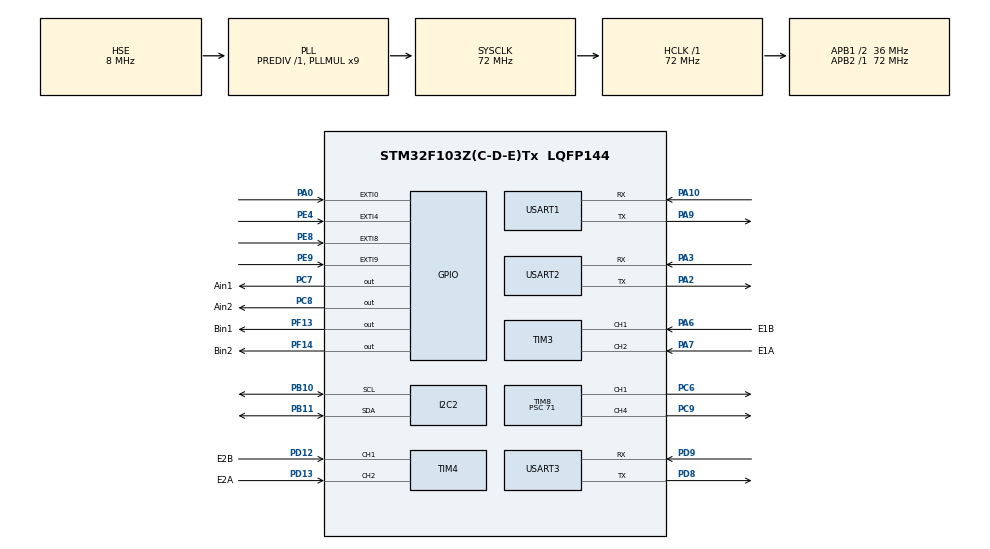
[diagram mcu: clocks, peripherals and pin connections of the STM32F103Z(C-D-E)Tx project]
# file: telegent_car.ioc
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Dma.Request0=USART2_RX
Dma.Request1=USART3_RX
Dma.USART2_RX.0.Direction=DMA_PERIPH_TO_MEMORY
Dma.USART2_RX.0.Instance=DMA1_Channel6
Dma.USART2_RX.0.MemDataAlignment=DMA_MDATAALIGN_BYTE
Dma.USART2_RX.0.MemInc=DMA_MINC_ENABLE
Dma.USART2_RX.0.Mode=DMA_NORMAL
Dma.USART2_RX.0.PeriphDataAlignment=DMA_PDATAALIGN_BYTE
Dma.USART2_RX.0.PeriphInc=DMA_PINC_DISABLE
Dma.USART2_RX.0.Priority=DMA_PRIORITY_MEDIUM
Dma.USART3_RX.1.Direction=DMA_PERIPH_TO_MEMORY
Dma.USART3_RX.1.Instance=DMA1_Channel3
Dma.USART3_RX.1.MemDataAlignment=DMA_MDATAALIGN_BYTE
Dma.USART3_RX.1.MemInc=DMA_MINC_ENABLE
Dma.USART3_RX.1.Mode=DMA_NORMAL
Dma.USART3_RX.1.PeriphDataAlignment=DMA_PDATAALIGN_BYTE
Dma.USART3_RX.1.PeriphInc=DMA_PINC_DISABLE
Dma.USART3_RX.1.Priority=DMA_PRIORITY_LOW
Mcu.Family=STM32F1
Mcu.Name=STM32F103Z(C-D-E)Tx
Mcu.Package=LQFP144
NVIC.DMA1_Channel3_IRQn=true\:0\:0\:false\:false\:true\:false\:true\:true
NVIC.DMA1_Channel6_IRQn=true\:0\:0\:false\:false\:true\:false\:true\:true
NVIC.EXTI0_IRQn=true\:2\:0\:true\:false\:true\:true\:true\:true
NVIC.EXTI4_IRQn=true\:1\:0\:true\:false\:true\:true\:true\:true
NVIC.EXTI9_5_IRQn=true\:0\:0\:true\:false\:true\:true\:true\:true
NVIC.PriorityGroup=NVIC_PRIORITYGROUP_2
NVIC.USART2_IRQn=true\:0\:0\:true\:false\:true\:true\:true\:true
NVIC.USART3_IRQn=true\:0\:0\:false\:false\:true\:true\:true\:true
OSC_IN.Mode=HSE-External-Oscillator
OSC_IN.Signal=RCC_OSC_IN
OSC_OUT.Mode=HSE-External-Oscillator
OSC_OUT.Signal=RCC_OSC_OUT
PA0-WKUP.GPIO_ModeDefaultEXTI=GPIO_MODE_IT_RISING
PA0-WKUP.GPIO_PuPd=GPIO_PULLDOWN
PA0-WKUP.Signal=GPXTI0
PA10.Mode=Asynchronous
PA10.Signal=USART1_RX
PA13.Mode=Serial_Wire
PA13.Signal=SYS_JTMS-SWDIO
PA14.Mode=Serial_Wire
PA14.Signal=SYS_JTCK-SWCLK
PA2.Mode=Asynchronous
PA2.Signal=USART2_TX
PA3.Mode=Asynchronous
PA3.Signal=USART2_RX
PA6.GPIO_Label=E1B
PA6.Signal=S_TIM3_CH1
PA7.GPIO_Label=E1A
PA7.Signal=S_TIM3_CH2
PA9.Mode=Asynchronous
PA9.Signal=USART1_TX
PB10.Mode=I2C
PB10.Signal=I2C2_SCL
PB11.Mode=I2C
PB11.Signal=I2C2_SDA
PC6.Signal=S_TIM8_CH1
PC7.GPIO_Label=Ain1
PC7.Signal=GPIO_Output
PC8.GPIO_Label=Ain2
PC8.Signal=GPIO_Output
PC9.Signal=S_TIM8_CH4
PD12.GPIO_Label=E2B
PD12.Signal=S_TIM4_CH1
PD13.GPIO_Label=E2A
PD13.Signal=S_TIM4_CH2
PD8.Mode=Asynchronous
PD8.Signal=USART3_TX
PD9.Mode=Asynchronous
PD9.Signal=USART3_RX
PE4.Signal=GPXTI4
PE8.GPIO_ModeDefaultEXTI=GPIO_MODE_IT_RISING
PE8.Signal=GPXTI8
PE9.GPIO_ModeDefaultEXTI=GPIO_MODE_IT_RISING
PE9.Signal=GPXTI9
PF13.GPIO_Label=Bin1
PF13.Signal=GPIO_Output
PF14.GPIO_Label=Bin2
PF14.Signal=GPIO_Output
ProjectManager.HeapSize=0x200
ProjectManager.StackSize=0x400
ProjectManager.TargetToolchain=MDK-ARM V5
RCC.AHBFreq_Value=72000000
RCC.APB1CLKDivider=RCC_HCLK_DIV2
RCC.APB1Freq_Value=36000000
RCC.APB1TimFreq_Value=72000000
RCC.APB2Freq_Value=72000000
RCC.APB2TimFreq_Value=72000000
RCC.HCLKFreq_Value=72000000
RCC.PLLMUL=RCC_PLL_MUL9
RCC.PLLSourceVirtual=RCC_PLLSOURCE_HSE
RCC.SYSCLKFreq_VALUE=72000000
RCC.SYSCLKSource=RCC_SYSCLKSOURCE_PLLCLK
RCC.USBFreq_Value=72000000
SH.S_TIM3_CH1.0=TIM3_CH1,Encoder_Interface
SH.S_TIM3_CH2.0=TIM3_CH2,Encoder_Interface
SH.S_TIM4_CH1.0=TIM4_CH1,Encoder_Interface
SH.S_TIM4_CH2.0=TIM4_CH2,Encoder_Interface
SH.S_TIM8_CH1.0=TIM8_CH1,PWM Generation1 CH1
SH.S_TIM8_CH4.0=TIM8_CH4,PWM Generation4 CH4
TIM3.EncoderMode=TIM_ENCODERMODE_TI12
TIM4.EncoderMode=TIM_ENCODERMODE_TI12
TIM8.AutoReloadPreload=TIM_AUTORELOAD_PRELOAD_ENABLE
TIM8.Channel-PWM\ Generation1\ CH1=TIM_CHANNEL_1
TIM8.Channel-PWM\ Generation4\ CH4=TIM_CHANNEL_4
TIM8.Period=999
TIM8.Prescaler=71
TIM8.Pulse-PWM\ Generation1\ CH1=0
TIM8.Pulse-PWM\ Generation4\ CH4=0
USART1.VirtualMode=VM_ASYNC
USART2.VirtualMode=VM_ASYNC
USART3.VirtualMode=VM_ASYNC
VP_TIM8_VS_ClockSourceINT.Mode=Internal
board=custom

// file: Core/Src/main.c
/* USER CODE BEGIN Header */
/**
  ******************************************************************************
  * @file           : main.c
  * @brief          : Main program body
  ******************************************************************************
  * @attention
  *
  * Copyright (c) 2023 STMicroelectronics.
  * All rights reserved.
  *
  * This software is licensed under terms that can be found in the LICENSE file
  * in the root directory of this software component.
  * If no LICENSE file comes with this software, it is provided AS-IS.
  *
  ******************************************************************************
  */
/* USER CODE END Header */
#include "main.h"
#include "dma.h"
#include "i2c.h"
#include "tim.h"
#include "usart.h"
#include "gpio.h"

/* USER CODE BEGIN Includes */
#include "sys.h"
/* USER CODE END Includes */

/* USER CODE BEGIN PV */
int position_flag=0;
int mode_flag1=0;
int mode_flag2=0;
int room_flag1=0;
int room_flag2=0;
/* USER CODE END PV */

void SystemClock_Config(void);

/* USER CODE BEGIN 0 */
#ifdef __GNUC_
#define PUTCHAR_PROTOTYPE int __io_putchar(int ch)
#else
#define PUTCHAR_PROTOTYPE int fputc(int ch, FILE *f)
#endif
PUTCHAR_PROTOTYPE
{
  HAL_UART_Transmit(&huart2, (uint8_t *)&ch, 1, 0xFFFF);
  return ch;
}
/* USER CODE END 0 */

int main(void)
{

  /* MCU Configuration--------------------------------------------------------*/

  /* Reset of all peripherals, Initializes the Flash interface and the Systick. */
  HAL_Init();

  /* Configure the system clock */
  SystemClock_Config();

  /* Initialize all configured peripherals */
  MX_GPIO_Init();
  MX_DMA_Init();
  MX_I2C2_Init();
  MX_TIM3_Init();
  MX_TIM4_Init();
  MX_USART2_UART_Init();
  MX_TIM8_Init();
  MX_USART1_UART_Init();
  MX_USART3_UART_Init();
  /* USER CODE BEGIN 2 */
	delay_init(72);

	OLED_Init();
	OLED_CLS();

	__HAL_UART_ENABLE_IT(&huart2, UART_IT_IDLE);
	HAL_UART_Receive_DMA(&huart2,rx_buffer,100);

	IIC_Init();
	WitInit(WIT_PROTOCOL_I2C, 0x50);
	WitI2cFuncRegister(IICwriteBytes, IICreadBytes);
	WitRegisterCallBack(CopeSensorData);
	WitDelayMsRegister(Delayms);

	HAL_TIM_Encoder_Start(&htim3, TIM_CHANNEL_ALL);
	HAL_TIM_Encoder_Start(&htim4, TIM_CHANNEL_ALL);
	HAL_TIM_PWM_Start(&htim8,TIM_CHANNEL_4);
	HAL_TIM_PWM_Start(&htim8,TIM_CHANNEL_1);

	delay_ms(500);
	Read_Angel();
	Yaw_err=fAngle[2];

  /* USER CODE END 2 */

  /* Infinite loop */
  /* USER CODE BEGIN WHILE */
  while (1)
  {
		Read_Angel();
//		go_encoder();
    /* USER CODE END WHILE */

  }
}

void SystemClock_Config(void)
{
  RCC_OscInitTypeDef RCC_OscInitStruct = {0};
  RCC_ClkInitTypeDef RCC_ClkInitStruct = {0};

  /** Initializes the RCC Oscillators according to the specified parameters
  * in the RCC_OscInitTypeDef structure.
  */
  RCC_OscInitStruct.OscillatorType = RCC_OSCILLATORTYPE_HSE;
  RCC_OscInitStruct.HSEState = RCC_HSE_ON;
  RCC_OscInitStruct.HSEPredivValue = RCC_HSE_PREDIV_DIV1;
  RCC_OscInitStruct.HSIState = RCC_HSI_ON;
  RCC_OscInitStruct.PLL.PLLState = RCC_PLL_ON;
  RCC_OscInitStruct.PLL.PLLSource = RCC_PLLSOURCE_HSE;
  RCC_OscInitStruct.PLL.PLLMUL = RCC_PLL_MUL9;
  if (HAL_RCC_OscConfig(&RCC_OscInitStruct) != HAL_OK)
  {
    Error_Handler();
  }

  /** Initializes the CPU, AHB and APB buses clocks
  */
  RCC_ClkInitStruct.ClockType = RCC_CLOCKTYPE_HCLK|RCC_CLOCKTYPE_SYSCLK
                              |RCC_CLOCKTYPE_PCLK1|RCC_CLOCKTYPE_PCLK2;
  RCC_ClkInitStruct.SYSCLKSource = RCC_SYSCLKSOURCE_PLLCLK;
  RCC_ClkInitStruct.AHBCLKDivider = RCC_SYSCLK_DIV1;
  RCC_ClkInitStruct.APB1CLKDivider = RCC_HCLK_DIV2;
  RCC_ClkInitStruct.APB2CLKDivider = RCC_HCLK_DIV1;

  if (HAL_RCC_ClockConfig(&RCC_ClkInitStruct, FLASH_LATENCY_2) != HAL_OK)
  {
    Error_Handler();
  }
}

void Error_Handler(void)
{
  __disable_irq();
  while (1)
  {
  }
}
